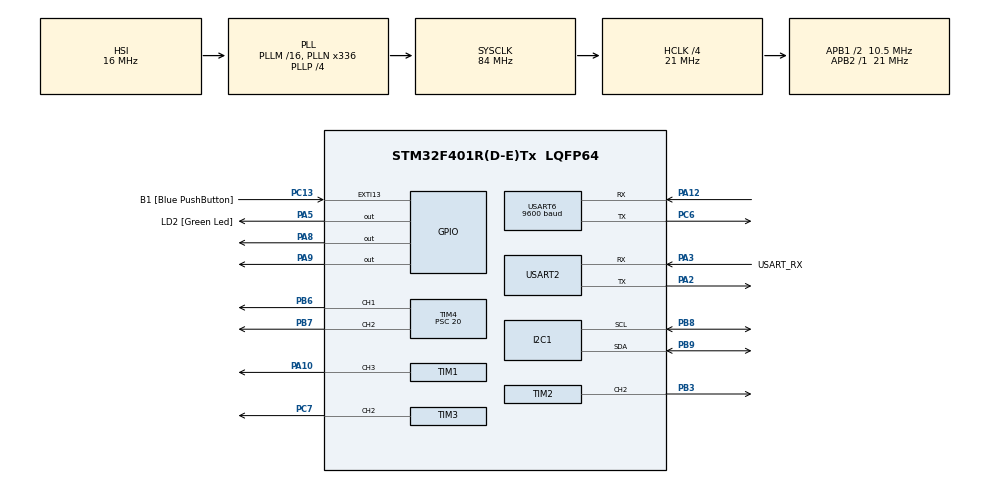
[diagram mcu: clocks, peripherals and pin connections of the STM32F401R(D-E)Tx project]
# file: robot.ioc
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Mcu.Family=STM32F4
Mcu.Name=STM32F401R(D-E)Tx
Mcu.Package=LQFP64
NVIC.PriorityGroup=NVIC_PRIORITYGROUP_0
NVIC.USART6_IRQn=true\:0\:0\:false\:false\:true\:true\:true\:true
PA10.Signal=S_TIM1_CH3
PA12.Mode=Asynchronous
PA12.Signal=USART6_RX
PA13.GPIO_Label=TMS
PA13.Signal=SYS_JTMS-SWDIO
PA14.GPIO_Label=TCK
PA14.Signal=SYS_JTCK-SWCLK
PA2.GPIO_Speed=GPIO_SPEED_FREQ_MEDIUM
PA2.Mode=Asynchronous
PA2.Signal=USART2_TX
PA3.GPIO_Label=USART_RX
PA3.GPIO_Mode=GPIO_MODE_AF_PP
PA3.GPIO_PuPd=GPIO_NOPULL
PA3.GPIO_Speed=GPIO_SPEED_FREQ_MEDIUM
PA3.Mode=Asynchronous
PA3.Signal=USART2_RX
PA5.GPIO_Label=LD2 [Green Led]
PA5.GPIO_Mode=GPIO_MODE_OUTPUT_PP
PA5.GPIO_PuPd=GPIO_NOPULL
PA5.GPIO_Speed=GPIO_SPEED_FREQ_LOW
PA5.Signal=GPIO_Output
PA8.Signal=GPIO_Output
PA9.Signal=GPIO_Output
PB3.Signal=S_TIM2_CH2
PB6.Signal=S_TIM4_CH1
PB7.Signal=S_TIM4_CH2
PB8.Mode=I2C
PB8.Signal=I2C1_SCL
PB9.Mode=I2C
PB9.Signal=I2C1_SDA
PC13-ANTI_TAMP.GPIO_Label=B1 [Blue PushButton]
PC13-ANTI_TAMP.GPIO_ModeDefaultEXTI=GPIO_MODE_IT_FALLING
PC13-ANTI_TAMP.GPIO_PuPd=GPIO_NOPULL
PC13-ANTI_TAMP.Signal=GPXTI13
PC14-OSC32_IN.Signal=RCC_OSC32_IN
PC15-OSC32_OUT.Signal=RCC_OSC32_OUT
PC6.Mode=Asynchronous
PC6.Signal=USART6_TX
PC7.Signal=S_TIM3_CH2
PH0\ -\ OSC_IN.Signal=RCC_OSC_IN
PH1\ -\ OSC_OUT.Signal=RCC_OSC_OUT
ProjectManager.HeapSize=0x200
ProjectManager.StackSize=0x400
ProjectManager.TargetToolchain=STM32CubeIDE
RCC.AHBCLKDivider=RCC_SYSCLK_DIV4
RCC.AHBFreq_Value=21000000
RCC.APB1CLKDivider=RCC_HCLK_DIV2
RCC.APB1Freq_Value=10500000
RCC.APB1TimFreq_Value=21000000
RCC.APB2Freq_Value=21000000
RCC.APB2TimFreq_Value=21000000
RCC.CortexFreq_Value=21000000
RCC.HCLKFreq_Value=21000000
RCC.HSE_VALUE=8000000
RCC.HSI_VALUE=16000000
RCC.LSE_VALUE=32768
RCC.PLLN=336
RCC.PLLP=RCC_PLLP_DIV4
RCC.PLLQ=7
RCC.SYSCLKFreq_VALUE=84000000
RCC.SYSCLKSource=RCC_SYSCLKSOURCE_PLLCLK
RCC.VCOOutputFreq_Value=336000000
SH.S_TIM1_CH3.0=TIM1_CH3,PWM Generation3 CH3
SH.S_TIM2_CH2.0=TIM2_CH2,PWM Generation2 CH2
SH.S_TIM3_CH2.0=TIM3_CH2,PWM Generation2 CH2
SH.S_TIM4_CH1.0=TIM4_CH1,PWM Generation1 CH1
SH.S_TIM4_CH2.0=TIM4_CH2,PWM Generation2 CH2
TIM1.Channel-PWM\ Generation3\ CH3=TIM_CHANNEL_3
TIM1.Period=20000
TIM1.Prescaler=20
TIM2.AutoReloadPreload=TIM_AUTORELOAD_PRELOAD_ENABLE
TIM2.Channel-PWM\ Generation2\ CH2=TIM_CHANNEL_2
TIM2.Period=1000
TIM2.Prescaler=32
TIM3.Channel-PWM\ Generation2\ CH2=TIM_CHANNEL_2
TIM3.Period=999
TIM3.Prescaler=20
TIM4.Channel-PWM\ Generation1\ CH1=TIM_CHANNEL_1
TIM4.Channel-PWM\ Generation2\ CH2=TIM_CHANNEL_2
TIM4.Period=999
TIM4.Prescaler=20
USART2.VirtualMode=VM_ASYNC
USART6.BaudRate=9600
USART6.VirtualMode=VM_ASYNC
board=NUCLEO-F401RE

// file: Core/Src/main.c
/* USER CODE BEGIN Header */
/**
 ******************************************************************************
 * @file           : main.c
 * @brief          : Main program body
 ******************************************************************************
 * @attention
 *
 * Copyright (c) 2024 STMicroelectronics.
 * All rights reserved.
 *
 * This software is licensed under terms that can be found in the LICENSE file
 * in the root directory of this software component.
 * If no LICENSE file comes with this software, it is provided AS-IS.
 *
 ******************************************************************************
 */
/* USER CODE END Header */
#include "main.h"
#include "buzzer.h"
#include "gyro.h"
#include "imu.h"
#include "math.h"
#include "motors.h"
#include "movement.h"
#include "robot.h"
#include "servo.h"
#include "stdio.h"

I2C_HandleTypeDef hi2c1;

TIM_HandleTypeDef htim1;
TIM_HandleTypeDef htim2;
TIM_HandleTypeDef htim3;
TIM_HandleTypeDef htim4;

UART_HandleTypeDef huart2;
UART_HandleTypeDef huart6;

void SystemClock_Config(void);
static void MX_GPIO_Init(void);
static void MX_TIM3_Init(void);
static void MX_TIM4_Init(void);
static void MX_I2C1_Init(void);
static void MX_USART6_UART_Init(void);
static void MX_TIM2_Init(void);
static void MX_USART2_UART_Init(void);
static void MX_TIM1_Init(void);

/* USER CODE BEGIN 0 */
uint8_t rx_buffer[5];
/* USER CODE END 0 */

int main(void)
{

    /* MCU Configuration--------------------------------------------------------*/

    /* Reset of all peripherals, Initializes the Flash interface and the Systick. */
    HAL_Init();

    /* Configure the system clock */
    SystemClock_Config();

    /* Initialize all configured peripherals */
    MX_GPIO_Init();
    MX_TIM3_Init();
    MX_TIM4_Init();
    MX_I2C1_Init();
    MX_USART6_UART_Init();
    MX_TIM2_Init();
    MX_USART2_UART_Init();
    MX_TIM1_Init();
    /* USER CODE BEGIN 2 */
    HAL_UART_Receive_IT(&huart6, rx_buffer, 5);
    motors_init();
    if (!gyro_init()) {
        Error_Handler();
    }
    if (!imu_init()) {
        Error_Handler();
    }
    HAL_Delay(2000);

    Movement_Init();
    Init(&global_robot);
    //
    mov.test_mode = false;
    mov.current_test = TEST_TURN;
    mov.test_step = 0;

    servo_init();
    buzzer_init();
    buzzer_play_startup();

    while (1) {
        if (mov.test_mode) {
            if (mov.state == MOV_STATE_IDLE) {
                switch (mov.current_test) {
                    case TEST_SQUARE:
                        if (ExecuteSquareTest(&mov)) {
                            mov.test_mode = false;
                        }
                        break;
                    case TEST_TURN:
                        point new_point = {.x = 12, .y = 12, .pen_up = true, .valid = true};
                        EnQueue(&global_robot, new_point);
                        new_point.x = 0;
                        new_point.pen_up = false;
                        EnQueue(&global_robot, new_point);
                        new_point.y = 0;
                        EnQueue(&global_robot, new_point);
                        new_point.x = 12;
                        new_point.y = 12;
                        EnQueue(&global_robot, new_point);
                        new_point.x = 0;
                        new_point.y = 0;
                        EnQueue(&global_robot, new_point);
                        mov.test_mode = false;
                        break;

                    default:
                        printf("unhandled test\r\n");
                }
            }
        } else {
            if (mov.state == MOV_STATE_IDLE) {
                UpdateDirection(&global_robot);
                if (global_robot.active) {
                    UpdateRobotPosition(&global_robot);
                    Movement_SetMove(-global_robot.desired_heading, global_robot.desired_distance,
                                     !global_robot.pen_up);
                }
            }
        }
        Movement_Update();
        //	  	pen_control(c%2==1);
        //	  	c++;

        HAL_Delay(50);
    }
}

void SystemClock_Config(void)
{
    RCC_OscInitTypeDef RCC_OscInitStruct = {0};
    RCC_ClkInitTypeDef RCC_ClkInitStruct = {0};

    /** Configure the main internal regulator output voltage
     */
    __HAL_RCC_PWR_CLK_ENABLE();
    __HAL_PWR_VOLTAGESCALING_CONFIG(PWR_REGULATOR_VOLTAGE_SCALE2);

    /** Initializes the RCC Oscillators according to the specified parameters
     * in the RCC_OscInitTypeDef structure.
     */
    RCC_OscInitStruct.OscillatorType = RCC_OSCILLATORTYPE_HSI;
    RCC_OscInitStruct.HSIState = RCC_HSI_ON;
    RCC_OscInitStruct.HSICalibrationValue = RCC_HSICALIBRATION_DEFAULT;
    RCC_OscInitStruct.PLL.PLLState = RCC_PLL_ON;
    RCC_OscInitStruct.PLL.PLLSource = RCC_PLLSOURCE_HSI;
    RCC_OscInitStruct.PLL.PLLM = 16;
    RCC_OscInitStruct.PLL.PLLN = 336;
    RCC_OscInitStruct.PLL.PLLP = RCC_PLLP_DIV4;
    RCC_OscInitStruct.PLL.PLLQ = 7;
    if (HAL_RCC_OscConfig(&RCC_OscInitStruct) != HAL_OK) {
        Error_Handler();
    }

    /** Initializes the CPU, AHB and APB buses clocks
     */
    RCC_ClkInitStruct.ClockType =
        RCC_CLOCKTYPE_HCLK | RCC_CLOCKTYPE_SYSCLK | RCC_CLOCKTYPE_PCLK1 | RCC_CLOCKTYPE_PCLK2;
    RCC_ClkInitStruct.SYSCLKSource = RCC_SYSCLKSOURCE_PLLCLK;
    RCC_ClkInitStruct.AHBCLKDivider = RCC_SYSCLK_DIV4;
    RCC_ClkInitStruct.APB1CLKDivider = RCC_HCLK_DIV2;
    RCC_ClkInitStruct.APB2CLKDivider = RCC_HCLK_DIV1;

    if (HAL_RCC_ClockConfig(&RCC_ClkInitStruct, FLASH_LATENCY_0) != HAL_OK) {
        Error_Handler();
    }
}

static void MX_I2C1_Init(void)
{

    hi2c1.Instance = I2C1;
    hi2c1.Init.ClockSpeed = 100000;
    hi2c1.Init.DutyCycle = I2C_DUTYCYCLE_2;
    hi2c1.Init.OwnAddress1 = 0;
    hi2c1.Init.AddressingMode = I2C_ADDRESSINGMODE_7BIT;
    hi2c1.Init.DualAddressMode = I2C_DUALADDRESS_DISABLE;
    hi2c1.Init.OwnAddress2 = 0;
    hi2c1.Init.GeneralCallMode = I2C_GENERALCALL_DISABLE;
    hi2c1.Init.NoStretchMode = I2C_NOSTRETCH_DISABLE;
    if (HAL_I2C_Init(&hi2c1) != HAL_OK) {
        Error_Handler();
    }
}

static void MX_TIM1_Init(void)
{

    TIM_MasterConfigTypeDef sMasterConfig = {0};
    TIM_OC_InitTypeDef sConfigOC = {0};
    TIM_BreakDeadTimeConfigTypeDef sBreakDeadTimeConfig = {0};

    htim1.Instance = TIM1;
    htim1.Init.Prescaler = 20;
    htim1.Init.CounterMode = TIM_COUNTERMODE_UP;
    htim1.Init.Period = 20000;
    htim1.Init.ClockDivision = TIM_CLOCKDIVISION_DIV1;
    htim1.Init.RepetitionCounter = 0;
    htim1.Init.AutoReloadPreload = TIM_AUTORELOAD_PRELOAD_DISABLE;
    if (HAL_TIM_PWM_Init(&htim1) != HAL_OK) {
        Error_Handler();
    }
    sMasterConfig.MasterOutputTrigger = TIM_TRGO_RESET;
    sMasterConfig.MasterSlaveMode = TIM_MASTERSLAVEMODE_DISABLE;
    if (HAL_TIMEx_MasterConfigSynchronization(&htim1, &sMasterConfig) != HAL_OK) {
        Error_Handler();
    }
    sConfigOC.OCMode = TIM_OCMODE_PWM1;
    sConfigOC.Pulse = 0;
    sConfigOC.OCPolarity = TIM_OCPOLARITY_HIGH;
    sConfigOC.OCNPolarity = TIM_OCNPOLARITY_HIGH;
    sConfigOC.OCFastMode = TIM_OCFAST_DISABLE;
    sConfigOC.OCIdleState = TIM_OCIDLESTATE_RESET;
    sConfigOC.OCNIdleState = TIM_OCNIDLESTATE_RESET;
    if (HAL_TIM_PWM_ConfigChannel(&htim1, &sConfigOC, TIM_CHANNEL_3) != HAL_OK) {
        Error_Handler();
    }
    sBreakDeadTimeConfig.OffStateRunMode = TIM_OSSR_DISABLE;
    sBreakDeadTimeConfig.OffStateIDLEMode = TIM_OSSI_DISABLE;
    sBreakDeadTimeConfig.LockLevel = TIM_LOCKLEVEL_OFF;
    sBreakDeadTimeConfig.DeadTime = 0;
    sBreakDeadTimeConfig.BreakState = TIM_BREAK_DISABLE;
    sBreakDeadTimeConfig.BreakPolarity = TIM_BREAKPOLARITY_HIGH;
    sBreakDeadTimeConfig.AutomaticOutput = TIM_AUTOMATICOUTPUT_DISABLE;
    if (HAL_TIMEx_ConfigBreakDeadTime(&htim1, &sBreakDeadTimeConfig) != HAL_OK) {
        Error_Handler();
    }
    HAL_TIM_MspPostInit(&htim1);
}

static void MX_TIM2_Init(void)
{

    TIM_MasterConfigTypeDef sMasterConfig = {0};
    TIM_OC_InitTypeDef sConfigOC = {0};

    htim2.Instance = TIM2;
    htim2.Init.Prescaler = 32;
    htim2.Init.CounterMode = TIM_COUNTERMODE_UP;
    htim2.Init.Period = 1000;
    htim2.Init.ClockDivision = TIM_CLOCKDIVISION_DIV1;
    htim2.Init.AutoReloadPreload = TIM_AUTORELOAD_PRELOAD_ENABLE;
    if (HAL_TIM_PWM_Init(&htim2) != HAL_OK) {
        Error_Handler();
    }
    sMasterConfig.MasterOutputTrigger = TIM_TRGO_RESET;
    sMasterConfig.MasterSlaveMode = TIM_MASTERSLAVEMODE_DISABLE;
    if (HAL_TIMEx_MasterConfigSynchronization(&htim2, &sMasterConfig) != HAL_OK) {
        Error_Handler();
    }
    sConfigOC.OCMode = TIM_OCMODE_PWM1;
    sConfigOC.Pulse = 0;
    sConfigOC.OCPolarity = TIM_OCPOLARITY_HIGH;
    sConfigOC.OCFastMode = TIM_OCFAST_DISABLE;
    if (HAL_TIM_PWM_ConfigChannel(&htim2, &sConfigOC, TIM_CHANNEL_2) != HAL_OK) {
        Error_Handler();
    }
    HAL_TIM_MspPostInit(&htim2);
}

static void MX_TIM3_Init(void)
{

    TIM_MasterConfigTypeDef sMasterConfig = {0};
    TIM_OC_InitTypeDef sConfigOC = {0};

    htim3.Instance = TIM3;
    htim3.Init.Prescaler = 20;
    htim3.Init.CounterMode = TIM_COUNTERMODE_UP;
    htim3.Init.Period = 999;
    htim3.Init.ClockDivision = TIM_CLOCKDIVISION_DIV1;
    htim3.Init.AutoReloadPreload = TIM_AUTORELOAD_PRELOAD_DISABLE;
    if (HAL_TIM_PWM_Init(&htim3) != HAL_OK) {
        Error_Handler();
    }
    sMasterConfig.MasterOutputTrigger = TIM_TRGO_RESET;
    sMasterConfig.MasterSlaveMode = TIM_MASTERSLAVEMODE_DISABLE;
    if (HAL_TIMEx_MasterConfigSynchronization(&htim3, &sMasterConfig) != HAL_OK) {
        Error_Handler();
    }
    sConfigOC.OCMode = TIM_OCMODE_PWM1;
    sConfigOC.Pulse = 0;
    sConfigOC.OCPolarity = TIM_OCPOLARITY_HIGH;
    sConfigOC.OCFastMode = TIM_OCFAST_DISABLE;
    if (HAL_TIM_PWM_ConfigChannel(&htim3, &sConfigOC, TIM_CHANNEL_2) != HAL_OK) {
        Error_Handler();
    }
    HAL_TIM_MspPostInit(&htim3);
}

static void MX_TIM4_Init(void)
{

    TIM_MasterConfigTypeDef sMasterConfig = {0};
    TIM_OC_InitTypeDef sConfigOC = {0};

    htim4.Instance = TIM4;
    htim4.Init.Prescaler = 20;
    htim4.Init.CounterMode = TIM_COUNTERMODE_UP;
    htim4.Init.Period = 999;
    htim4.Init.ClockDivision = TIM_CLOCKDIVISION_DIV1;
    htim4.Init.AutoReloadPreload = TIM_AUTORELOAD_PRELOAD_DISABLE;
    if (HAL_TIM_PWM_Init(&htim4) != HAL_OK) {
        Error_Handler();
    }
    sMasterConfig.MasterOutputTrigger = TIM_TRGO_RESET;
    sMasterConfig.MasterSlaveMode = TIM_MASTERSLAVEMODE_DISABLE;
    if (HAL_TIMEx_MasterConfigSynchronization(&htim4, &sMasterConfig) != HAL_OK) {
        Error_Handler();
    }
    sConfigOC.OCMode = TIM_OCMODE_PWM1;
    sConfigOC.Pulse = 0;
    sConfigOC.OCPolarity = TIM_OCPOLARITY_HIGH;
    sConfigOC.OCFastMode = TIM_OCFAST_DISABLE;
    if (HAL_TIM_PWM_ConfigChannel(&htim4, &sConfigOC, TIM_CHANNEL_1) != HAL_OK) {
        Error_Handler();
    }
    if (HAL_TIM_PWM_ConfigChannel(&htim4, &sConfigOC, TIM_CHANNEL_2) != HAL_OK) {
        Error_Handler();
    }
    HAL_TIM_MspPostInit(&htim4);
}

static void MX_USART2_UART_Init(void)
{

    huart2.Instance = USART2;
    huart2.Init.BaudRate = 115200;
    huart2.Init.WordLength = UART_WORDLENGTH_8B;
    huart2.Init.StopBits = UART_STOPBITS_1;
    huart2.Init.Parity = UART_PARITY_NONE;
    huart2.Init.Mode = UART_MODE_TX_RX;
    huart2.Init.HwFlowCtl = UART_HWCONTROL_NONE;
    huart2.Init.OverSampling = UART_OVERSAMPLING_16;
    if (HAL_UART_Init(&huart2) != HAL_OK) {
        Error_Handler();
    }
}

static void MX_USART6_UART_Init(void)
{

    huart6.Instance = USART6;
    huart6.Init.BaudRate = 9600;
    huart6.Init.WordLength = UART_WORDLENGTH_8B;
    huart6.Init.StopBits = UART_STOPBITS_1;
    huart6.Init.Parity = UART_PARITY_NONE;
    huart6.Init.Mode = UART_MODE_TX_RX;
    huart6.Init.HwFlowCtl = UART_HWCONTROL_NONE;
    huart6.Init.OverSampling = UART_OVERSAMPLING_16;
    if (HAL_UART_Init(&huart6) != HAL_OK) {
        Error_Handler();
    }
    /* USER CODE BEGIN USART6_Init 2 */
    HAL_NVIC_SetPriority(USART6_IRQn, 0, 0);
    HAL_NVIC_EnableIRQ(USART6_IRQn);
    __HAL_RCC_USART6_CLK_ENABLE();
    /* USER CODE END USART6_Init 2 */
}

static void MX_GPIO_Init(void)
{
    GPIO_InitTypeDef GPIO_InitStruct = {0};

    /* GPIO Ports Clock Enable */
    __HAL_RCC_GPIOC_CLK_ENABLE();
    __HAL_RCC_GPIOH_CLK_ENABLE();
    __HAL_RCC_GPIOA_CLK_ENABLE();
    __HAL_RCC_GPIOB_CLK_ENABLE();

    /*Configure GPIO pin Output Level */
    HAL_GPIO_WritePin(GPIOA, LD2_Pin | GPIO_PIN_8 | GPIO_PIN_9, GPIO_PIN_RESET);

    /*Configure GPIO pin : B1_Pin */
    GPIO_InitStruct.Pin = B1_Pin;
    GPIO_InitStruct.Mode = GPIO_MODE_IT_FALLING;
    GPIO_InitStruct.Pull = GPIO_NOPULL;
    HAL_GPIO_Init(B1_GPIO_Port, &GPIO_InitStruct);

    /*Configure GPIO pins : LD2_Pin PA8 PA9 */
    GPIO_InitStruct.Pin = LD2_Pin | GPIO_PIN_8 | GPIO_PIN_9;
    GPIO_InitStruct.Mode = GPIO_MODE_OUTPUT_PP;
    GPIO_InitStruct.Pull = GPIO_NOPULL;
    GPIO_InitStruct.Speed = GPIO_SPEED_FREQ_LOW;
    HAL_GPIO_Init(GPIOA, &GPIO_InitStruct);

}

/* USER CODE BEGIN 4 */
#ifdef __GNUC__
#define PUTCHAR_PROTOTYPE int __io_putchar(int ch)
#else
#define PUTCHAR_PROTOTYPE int fputc(int ch, FILE *f)
#endif /* __GNUC__ */
PUTCHAR_PROTOTYPE
{
    HAL_UART_Transmit(&huart2, (uint8_t *)&ch, 1, 0xFFFF);
    return ch;
}

void HAL_UART_RxCpltCallback(UART_HandleTypeDef *huart)
{
    HAL_UART_Receive_IT(&huart6, rx_buffer, 5);

    // Reconstruct the received 16-bit values
    uint16_t canvas_x = (rx_buffer[0] << 8) | rx_buffer[1];
    uint16_t canvas_y = (rx_buffer[2] << 8) | rx_buffer[3];
    bool pen_up = rx_buffer[4];

    // Process the received data
    ReadUart(&global_robot, canvas_x, canvas_y, pen_up);
}

/* USER CODE END 4 */

void Error_Handler(void)
{
    __disable_irq();
    while (1) {
    }
}
